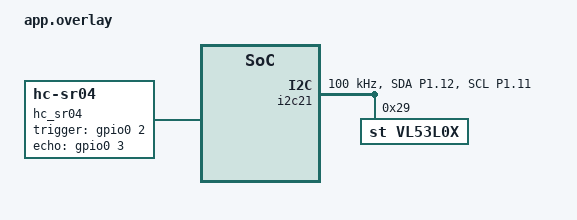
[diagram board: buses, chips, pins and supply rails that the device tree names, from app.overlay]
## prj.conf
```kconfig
#
# Copyright (c) 2020 Nordic Semiconductor
#
# SPDX-License-Identifier: LicenseRef-Nordic-5-Clause
#

# nRF board library
CONFIG_DK_LIBRARY=y

# Enable CoAP utils and CoAP protocol
CONFIG_COAP=y
CONFIG_COAP_UTILS=y

# Generic networking options
CONFIG_NETWORKING=y

# L2 OpenThread enabling
CONFIG_NET_L2_OPENTHREAD=y

# Network shell
CONFIG_SHELL=y
CONFIG_OPENTHREAD_SHELL=y
CONFIG_SHELL_ARGC_MAX=26
CONFIG_SHELL_CMD_BUFF_SIZE=416

# Increase Settings storage size
CONFIG_PM_PARTITION_SIZE_SETTINGS_STORAGE=0x8000

# Network sockets
CONFIG_NET_SOCKETS=y
CONFIG_ZVFS_POLL_MAX=4

# Same network Master Key for client and server
CONFIG_OPENTHREAD_NETWORKKEY="00:11:22:33:44:55:66:77:88:99:aa:bb:cc:dd:ee:ff"

CONFIG_MBEDTLS_SHA1_C=n
CONFIG_FPU=y

# Increase main stack size to meet networking requirements
CONFIG_MAIN_STACK_SIZE=4096

# Set product string for USB device
CONFIG_CDC_ACM_SERIAL_PRODUCT_STRING="OpenThread CoAP Client"

CONFIG_I2C=y
CONFIG_GPIO=y
CONFIG_SENSOR=y
CONFIG_VL53L0X=y
CONFIG_HC_SR04=y
CONFIG_VL53L0X_PROXIMITY_THRESHOLD=100
CONFIG_CBPRINTF_FP_SUPPORT=y

# Enable logging
CONFIG_LOG=y
CONFIG_LOG_MODE_IMMEDIATE=y
CONFIG_LOG_DEFAULT_LEVEL=3
```

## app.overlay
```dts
/ {
    hc_sr04: hc-sr04 {
        compatible = "hc-sr04";
        trigger-gpios = <&gpio0 2 GPIO_ACTIVE_HIGH>;
        echo-gpios = <&gpio0 3 GPIO_ACTIVE_HIGH>;
        status = "okay";
    };
};

&pinctrl {
    i2c21_default: i2c21_default {
        group1 {
            psels = <NRF_PSEL(TWIM_SDA, 1, 12)>,
                    <NRF_PSEL(TWIM_SCL, 1, 11)>;
        };
    };
};

&i2c21 {
    status = "okay";
    pinctrl-0 = <&i2c21_default>;
    pinctrl-names = "default";
    clock-frequency = <I2C_BITRATE_STANDARD>;

    vl53l0x@29 {
        compatible = "st,vl53l0x";
        reg = <0x29>;
    };
};
```

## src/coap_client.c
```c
/*
 * Copyright (c) 2020 Nordic Semiconductor ASA
 *
 * SPDX-License-Identifier: LicenseRef-Nordic-5-Clause
 */

#include <zephyr/kernel.h>
#include <dk_buttons_and_leds.h>
#include <zephyr/logging/log.h>
#include <ram_pwrdn.h>
#include <zephyr/device.h>
#include <zephyr/pm/device.h>
#include <zephyr/drivers/sensor.h>
#include <zephyr/drivers/sensor/vl53l0x.h>

#include "coap_client_utils.h"

#if CONFIG_BT_NUS
#include "ble_utils.h"
#endif

LOG_MODULE_REGISTER(coap_client, CONFIG_COAP_CLIENT_LOG_LEVEL);

#define OT_CONNECTION_LED DK_LED1
#define BLE_CONNECTION_LED DK_LED2
#define MTD_SED_LED DK_LED3

#if CONFIG_BT_NUS

#define COMMAND_REQUEST_UNICAST 'u'
#define COMMAND_REQUEST_MULTICAST 'm'
#define COMMAND_REQUEST_PROVISIONING 'p'

static void on_nus_received(struct bt_conn *conn, const uint8_t *const data, uint16_t len)
{
	LOG_INF("Received data: %c", data[0]);

	switch (*data) {
	case COMMAND_REQUEST_UNICAST:
		coap_client_toggle_one_light();
		break;

	case COMMAND_REQUEST_MULTICAST:
		coap_client_toggle_mesh_lights();
		break;

	case COMMAND_REQUEST_PROVISIONING:
		coap_client_send_provisioning_request();
		break;

	default:
		LOG_WRN("Received invalid data from NUS");
	}
}

static void on_ble_connect(struct k_work *item)
{
	ARG_UNUSED(item);

	dk_set_led_on(BLE_CONNECTION_LED);
}

static void on_ble_disconnect(struct k_work *item)
{
	ARG_UNUSED(item);

	dk_set_led_off(BLE_CONNECTION_LED);
}

#endif /* CONFIG_BT_NUS */

static void on_ot_connect(struct k_work *item)
{
	ARG_UNUSED(item);

	dk_set_led_on(OT_CONNECTION_LED);
}

static void on_ot_disconnect(struct k_work *item)
{
	ARG_UNUSED(item);

	dk_set_led_off(OT_CONNECTION_LED);
}

static void on_mtd_mode_toggle(uint32_t med)
{
#if IS_ENABLED(CONFIG_PM_DEVICE)
	const struct device *cons = DEVICE_DT_GET(DT_CHOSEN(zephyr_console));

	if (!device_is_ready(cons)) {
		return;
	}

	if (med) {
		pm_device_action_run(cons, PM_DEVICE_ACTION_RESUME);
	} else {
		pm_device_action_run(cons, PM_DEVICE_ACTION_SUSPEND);
	}
#endif
	dk_set_led(MTD_SED_LED, med);
}

static void on_button_changed(uint32_t button_state, uint32_t has_changed)
{
	uint32_t buttons = button_state & has_changed;

	if (buttons & DK_BTN1_MSK) {
		coap_client_toggle_one_light();
	}

	if (buttons & DK_BTN2_MSK) {
		coap_client_toggle_mesh_lights();
	}

	if (buttons & DK_BTN3_MSK) {
		coap_client_toggle_minimal_sleepy_end_device();
	}

	if (buttons & DK_BTN4_MSK) {
		coap_client_send_provisioning_request();
	}
}

int main(void)
{
	int ret;

	LOG_INF("Start CoAP-client sample");

	if (IS_ENABLED(CONFIG_RAM_POWER_DOWN_LIBRARY)) {
		power_down_unused_ram();
	}

	ret = dk_buttons_init(on_button_changed);
	if (ret) {
		LOG_ERR("Cannot init buttons (error: %d)", ret);
		return 0;
	}

	ret = dk_leds_init();
	if (ret) {
		LOG_ERR("Cannot init leds, (error: %d)", ret);
		return 0;
	}

#if CONFIG_BT_NUS
	struct bt_nus_cb nus_clbs = {
		.received = on_nus_received,
		.sent = NULL,
	};

	ret = ble_utils_init(&nus_clbs, on_ble_connect, on_ble_disconnect);
	if (ret) {
		LOG_ERR("Cannot init BLE utilities");
		return 0;
	}

#endif /* CONFIG_BT_NUS */

	coap_client_utils_init(on_ot_connect, on_ot_disconnect, on_mtd_mode_toggle);

	const struct device *const dev = DEVICE_DT_GET_ONE(st_vl53l0x);
	const struct device *const hc_sr04 = DEVICE_DT_GET_ONE(hc_sr04);
	struct sensor_value value;

	if (!device_is_ready(dev)) {
		LOG_ERR("sensor: VL53L0X device not ready.");
	}

	if (!device_is_ready(hc_sr04)) {
		LOG_ERR("sensor: HC-SR04 device not ready.");
	}

	while (1) {
		int dist_vl53l0x = 0;
		int dist_hc_sr04 = 0;

		if (device_is_ready(dev)) {
			sensor_sample_fetch(dev);
			sensor_channel_get(dev, SENSOR_CHAN_DISTANCE, &value);
			dist_vl53l0x = sensor_value_to_milli(&value);
		}

		if (device_is_ready(hc_sr04)) {
			sensor_sample_fetch(hc_sr04);
			sensor_channel_get(hc_sr04, SENSOR_CHAN_DISTANCE, &value);
			dist_hc_sr04 = sensor_value_to_milli(&value);
		}

		LOG_INF("VL53L0X: %d mm, HC-SR04: %d mm", dist_vl53l0x, dist_hc_sr04);

		coap_client_send_distances(dist_vl53l0x, dist_hc_sr04);

		k_sleep(K_MSEC(1000));
	}

	return 0;
}
```

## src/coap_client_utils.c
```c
/*
 * Copyright (c) 2020 Nordic Semiconductor ASA
 *
 * SPDX-License-Identifier: LicenseRef-Nordic-5-Clause
 */

#include <zephyr/kernel.h>
#include <coap_server_client_interface.h>
#include <net/coap_utils.h>
#include <zephyr/logging/log.h>
#include <zephyr/net/socket.h>
#include <openthread.h>
#include <openthread/thread.h>

#include "coap_client_utils.h"

LOG_MODULE_REGISTER(coap_client_utils, CONFIG_COAP_CLIENT_UTILS_LOG_LEVEL);

#define RESPONSE_POLL_PERIOD 100

static uint32_t poll_period;

static bool is_connected;

#define COAP_CLIENT_WORKQ_STACK_SIZE 2048
#define COAP_CLIENT_WORKQ_PRIORITY 5

K_THREAD_STACK_DEFINE(coap_client_workq_stack_area, COAP_CLIENT_WORKQ_STACK_SIZE);
static struct k_work_q coap_client_workq;

static struct k_work unicast_light_work;
static struct k_work multicast_light_work;
static struct k_work toggle_MTD_SED_work;
static struct k_work provisioning_work;
static struct k_work on_connect_work;
static struct k_work on_disconnect_work;

static struct k_work distances_work;
static int saved_dist1;
static int saved_dist2;

mtd_mode_toggle_cb_t on_mtd_mode_toggle;

/* Options supported by the server */
static const char *const light_option[] = { LIGHT_URI_PATH, NULL };
static const char *const distance_option[] = { "distance", NULL };
static const char *const provisioning_option[] = { PROVISIONING_URI_PATH,
						   NULL };

/* Thread multicast mesh local address */
static struct sockaddr_in6 multicast_local_addr = {
	.sin6_family = AF_INET6,
	.sin6_port = htons(COAP_PORT),
	.sin6_addr.s6_addr = { 0xff, 0x03, 0x00, 0x00, 0x00, 0x00, 0x00, 0x00,
			       0x00, 0x00, 0x00, 0x00, 0x00, 0x00, 0x00, 0x01 },
	.sin6_scope_id = 0U
};

/* Variable for storing server address acquiring in provisioning handshake */
static char unique_local_addr_str[INET6_ADDRSTRLEN];
static struct sockaddr_in6 unique_local_addr = {
	.sin6_family = AF_INET6,
	.sin6_port = htons(COAP_PORT),
	.sin6_addr.s6_addr = {0, },
	.sin6_scope_id = 0U
};

static bool is_mtd_in_med_mode(otInstance *instance)
{
	return otThreadGetLinkMode(instance).mRxOnWhenIdle;
}

static void poll_period_response_set(void)
{
	otError error;

	otInstance *instance = openthread_get_default_instance();

	if (is_mtd_in_med_mode(instance)) {
		return;
	}

	if (!poll_period) {
		poll_period = otLinkGetPollPeriod(instance);

		error = otLinkSetPollPeriod(instance, RESPONSE_POLL_PERIOD);
		__ASSERT(error == OT_ERROR_NONE, "Failed to set pool period");

		LOG_INF("Poll Period: %dms set", RESPONSE_POLL_PERIOD);
	}
}

static void poll_period_restore(void)
{
	otError error;
	otInstance *instance = openthread_get_default_instance();

	if (is_mtd_in_med_mode(instance)) {
		return;
	}

	if (poll_period) {
		error = otLinkSetPollPeriod(instance, poll_period);
		__ASSERT_NO_MSG(error == OT_ERROR_NONE);

		LOG_INF("Poll Period: %dms restored", poll_period);
		poll_period = 0;
	}
}

static int on_provisioning_reply(const struct coap_packet *response,
				 struct coap_reply *reply,
				 const struct sockaddr *from)
{
	int ret = 0;
	const uint8_t *payload;
	uint16_t payload_size = 0u;

	ARG_UNUSED(reply);
	ARG_UNUSED(from);

	payload = coap_packet_get_payload(response, &payload_size);

	if (payload == NULL ||
	    payload_size != sizeof(unique_local_addr.sin6_addr)) {
		LOG_ERR("Received data is invalid");
		ret = -EINVAL;
		goto exit;
	}

	memcpy(&unique_local_addr.sin6_addr, payload, payload_size);

	if (!zsock_inet_ntop(AF_INET6, payload, unique_local_addr_str,
		       INET6_ADDRSTRLEN)) {
		LOG_ERR("Received data is not IPv6 address: %d", errno);
		ret = -errno;
		goto exit;
	}

	LOG_INF("Received peer address: %s", unique_local_addr_str);

exit:
	if (IS_ENABLED(CONFIG_OPENTHREAD_MTD_SED)) {
		poll_period_restore();
	}

	return ret;
}

static void send_distances_request(struct k_work *item)
{
	ARG_UNUSED(item);
	char payload[32];

	if (unique_local_addr.sin6_addr.s6_addr16[0] == 0) {
		LOG_WRN("Peer address not set. Activate 'provisioning' option "
			"on the server side");
		return;
	}

	int len = snprintf(payload, sizeof(payload), "VL:%d,HC:%d", saved_dist1, saved_dist2);

	LOG_INF("Send 'distance' request to: %s (%s)", unique_local_addr_str, payload);
	coap_send_request(COAP_METHOD_PUT,
			  (const struct sockaddr *)&unique_local_addr,
			  distance_option, payload, len, NULL);
}

static void toggle_one_light(struct k_work *item)
{
	uint8_t payload = (uint8_t)THREAD_COAP_UTILS_LIGHT_CMD_TOGGLE;

	ARG_UNUSED(item);

	if (unique_local_addr.sin6_addr.s6_addr16[0] == 0) {
		LOG_WRN("Peer address not set. Activate 'provisioning' option "
			"on the server side");
		return;
	}

	LOG_INF("Send 'light' request to: %s", unique_local_addr_str);
	coap_send_request(COAP_METHOD_PUT,
			  (const struct sockaddr *)&unique_local_addr,
			  light_option, &payload, sizeof(payload), NULL);
}

static void toggle_mesh_lights(struct k_work *item)
{
	static uint8_t command = (uint8_t)THREAD_COAP_UTILS_LIGHT_CMD_OFF;

	ARG_UNUSED(item);

	command = ((command == THREAD_COAP_UTILS_LIGHT_CMD_OFF) ?
			   THREAD_COAP_UTILS_LIGHT_CMD_ON :
			   THREAD_COAP_UTILS_LIGHT_CMD_OFF);

	LOG_INF("Send multicast mesh 'light' request");
	coap_send_request(COAP_METHOD_PUT,
			  (const struct sockaddr *)&multicast_local_addr,
			  light_option, &command, sizeof(command), NULL);
}

static void send_provisioning_request(struct k_work *item)
{
	ARG_UNUSED(item);

	if (IS_ENABLED(CONFIG_OPENTHREAD_MTD_SED)) {
		/* decrease the polling period for higher responsiveness */
		poll_period_response_set();
	}

	LOG_INF("Send 'provisioning' request");
	coap_send_request(COAP_METHOD_GET,
			  (const struct sockaddr *)&multicast_local_addr,
			  provisioning_option, NULL, 0u, on_provisioning_reply);
}

static void toggle_minimal_sleepy_end_device(struct k_work *item)
{
	otError error;
	otLinkModeConfig mode;
	struct otInstance *instance = openthread_get_default_instance();

	openthread_mutex_lock();
	mode = otThreadGetLinkMode(instance);
	mode.mRxOnWhenIdle = !mode.mRxOnWhenIdle;
	error = otThreadSetLinkMode(instance, mode);
	openthread_mutex_unlock();

	if (error != OT_ERROR_NONE) {
		LOG_ERR("Failed to set MLE link mode configuration");
	} else {
		on_mtd_mode_toggle(mode.mRxOnWhenIdle);
	}
}

static void update_device_state(void)
{
	struct otInstance *instance = openthread_get_default_instance();
	otLinkModeConfig mode = otThreadGetLinkMode(instance);
	on_mtd_mode_toggle(mode.mRxOnWhenIdle);
}

static void on_thread_state_changed(otChangedFlags flags, void *user_data)
{
	struct otInstance *instance = openthread_get_default_instance();

	if (flags & OT_CHANGED_THREAD_ROLE) {
		switch (otThreadGetDeviceRole(instance)) {
		case OT_DEVICE_ROLE_CHILD:
		case OT_DEVICE_ROLE_ROUTER:
		case OT_DEVICE_ROLE_LEADER:
			k_work_submit_to_queue(&coap_client_workq, &on_connect_work);
			is_connected = true;
			break;

		case OT_DEVICE_ROLE_DISABLED:
		case OT_DEVICE_ROLE_DETACHED:
		default:
			k_work_submit_to_queue(&coap_client_workq, &on_disconnect_work);
			is_connected = false;
			break;
		}
	}
}
static struct openthread_state_changed_callback ot_state_chaged_cb = {
	.otCallback = on_thread_state_changed};

static void submit_work_if_connected(struct k_work *work)
{
	if (is_connected) {
		k_work_submit_to_queue(&coap_client_workq, work);
	} else {
		LOG_INF("Connection is broken");
	}
}

void coap_client_utils_init(ot_connection_cb_t on_connect,
			    ot_disconnection_cb_t on_disconnect,
			    mtd_mode_toggle_cb_t on_toggle)
{
	on_mtd_mode_toggle = on_toggle;

	coap_init(AF_INET6, NULL);


	k_work_queue_init(&coap_client_workq);

	k_work_queue_start(&coap_client_workq, coap_client_workq_stack_area,
					K_THREAD_STACK_SIZEOF(coap_client_workq_stack_area),
					COAP_CLIENT_WORKQ_PRIORITY, NULL);

	k_work_init(&on_connect_work, on_connect);
	k_work_init(&on_disconnect_work, on_disconnect);
	k_work_init(&unicast_light_work, toggle_one_light);
	k_work_init(&multicast_light_work, toggle_mesh_lights);
	k_work_init(&provisioning_work, send_provisioning_request);
	k_work_init(&distances_work, send_distances_request);

	openthread_state_changed_callback_register(&ot_state_chaged_cb);
	openthread_run();

	if (IS_ENABLED(CONFIG_OPENTHREAD_MTD_SED)) {
		k_work_init(&toggle_MTD_SED_work,
			    toggle_minimal_sleepy_end_device);
		update_device_state();
	}
}

void coap_client_toggle_one_light(void)
{
	submit_work_if_connected(&unicast_light_work);
}

void coap_client_toggle_mesh_lights(void)
{
	submit_work_if_connected(&multicast_light_work);
}

void coap_client_send_provisioning_request(void)
{
	submit_work_if_connected(&provisioning_work);
}

void coap_client_toggle_minimal_sleepy_end_device(void)
{
	if (IS_ENABLED(CONFIG_OPENTHREAD_MTD_SED)) {
		k_work_submit_to_queue(&coap_client_workq, &toggle_MTD_SED_work);
	}
}

void coap_client_send_distances(int dist1, int dist2)
{
	saved_dist1 = dist1;
	saved_dist2 = dist2;
	submit_work_if_connected(&distances_work);
}
```

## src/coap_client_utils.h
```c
/**
 * @file
 * @defgroup coap_client_utils API for coap_client_* samples
 * @{
 */

/*
 * Copyright (c) 2020 Nordic Semiconductor ASA
 *
 * SPDX-License-Identifier: LicenseRef-Nordic-5-Clause
 */

#ifndef __COAP_CLIENT_UTILS_H__
#define __COAP_CLIENT_UTILS_H__

/** @brief Type indicates function called when OpenThread connection
 *         is established.
 *
 * @param[in] item pointer to work item.
 */
typedef void (*ot_connection_cb_t)(struct k_work *item);

/** @brief Type indicates function called when OpenThread connection is ended.
 *
 * @param[in] item pointer to work item.
 */
typedef void (*ot_disconnection_cb_t)(struct k_work *item);

/** @brief Type indicates function called when the MTD modes are toggled.
 *
 * @param[in] val 1 if the MTD is in MED mode
 *                0 if the MTD is in SED mode
 */
typedef void (*mtd_mode_toggle_cb_t)(uint32_t val);

/** @brief Initialize CoAP client utilities.
 */
void coap_client_utils_init(ot_connection_cb_t on_connect,
			    ot_disconnection_cb_t on_disconnect,
			    mtd_mode_toggle_cb_t on_toggle);

/** @brief Toggle light on the CoAP server node.
 *
 * @note The CoAP server should be paired before to have an affect.
 */
void coap_client_toggle_one_light(void);

/** @brief Toggle lights on all CoAP servers in the network mesh.
 */
void coap_client_toggle_mesh_lights(void);

/** @brief Request for the CoAP server address to pair.
 *
 * @note Enable paring on the CoAP server to get the address.
 */
void coap_client_send_provisioning_request(void);

/** @brief Toggle SED to MED and MED to SED modes.
 *
 * @note Active when the device is working as Minimal Thread Device.
 */
void coap_client_toggle_minimal_sleepy_end_device(void);

/** @brief Send distances measured by VL53L0X and HC-SR04 sensors via CoAP.
 *
 * @param dist1 VL53L0X distance in mm
 * @param dist2 HC-SR04 distance in mm
 */
void coap_client_send_distances(int dist1, int dist2);

#endif

/**
 * @}
 */
```
